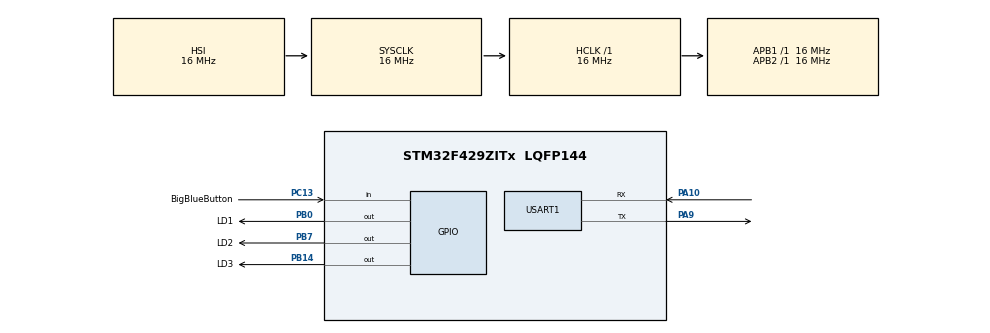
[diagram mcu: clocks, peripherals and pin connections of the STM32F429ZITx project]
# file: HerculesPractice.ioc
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Mcu.Family=STM32F4
Mcu.Name=STM32F429ZITx
Mcu.Package=LQFP144
NVIC.PriorityGroup=NVIC_PRIORITYGROUP_4
NVIC.USART1_IRQn=true\:0\:0\:false\:false\:true\:true\:true
PA10.Mode=Asynchronous
PA10.Signal=USART1_RX
PA13.Mode=Serial_Wire
PA13.Signal=SYS_JTMS-SWDIO
PA14.Mode=Serial_Wire
PA14.Signal=SYS_JTCK-SWCLK
PA9.Mode=Asynchronous
PA9.Signal=USART1_TX
PB0.GPIO_Label=LD1
PB0.Signal=GPIO_Output
PB14.GPIO_Label=LD3
PB14.Signal=GPIO_Output
PB7.GPIO_Label=LD2
PB7.Signal=GPIO_Output
PC13.GPIO_Label=BigBlueButton
PC13.Signal=GPIO_Input
ProjectManager.HeapSize=0x200
ProjectManager.StackSize=0x400
ProjectManager.TargetToolchain=MDK-ARM V5
RCC.AHBFreq_Value=16000000
RCC.APB1Freq_Value=16000000
RCC.APB2Freq_Value=16000000
RCC.CortexFreq_Value=16000000
RCC.HSE_VALUE=25000000
RCC.HSI_VALUE=16000000
RCC.LSE_VALUE=32768
RCC.SYSCLKFreq_VALUE=16000000
RCC.VCOOutputFreq_Value=192000000
USART1.VirtualMode=VM_ASYNC
board=custom

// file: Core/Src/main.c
/* USER CODE BEGIN Header */
/**
  ******************************************************************************
  * @file           : main.c
  * @brief          : Main program body
  ******************************************************************************
  * @attention
  *
  * <h2><center>&copy; Copyright (c) 2021 STMicroelectronics.
  * All rights reserved.</center></h2>
  *
  * This software component is licensed by ST under BSD 3-Clause license,
  * the "License"; You may not use this file except in compliance with the
  * License. You may obtain a copy of the License at:
  *                        opensource.org/licenses/BSD-3-Clause
  *
  ******************************************************************************
  */
/* USER CODE END Header */
#include "main.h"

/* USER CODE BEGIN Includes */
#include "string.h"
#include "stdio.h"
/* USER CODE END Includes */

UART_HandleTypeDef huart1;

/* USER CODE BEGIN PV */
uint8_t pc_data[3];
uint8_t command_from_pc = 0;
/* USER CODE END PV */

void SystemClock_Config(void);
static void MX_GPIO_Init(void);
static void MX_USART1_UART_Init(void);

/* USER CODE BEGIN 0 */
void HAL_UART_RxCpltCallback(UART_HandleTypeDef *huart)
{
	if((pc_data[0] == 0x7E) && (pc_data[2] == 0xAB))
		command_from_pc = pc_data[1];
	HAL_UART_Receive_IT(&huart1, pc_data, 3);
}
/* USER CODE END 0 */

int main(void)
{

  /* MCU Configuration--------------------------------------------------------*/

  /* Reset of all peripherals, Initializes the Flash interface and the Systick. */
  HAL_Init();

  /* Configure the system clock */
  SystemClock_Config();

  /* Initialize all configured peripherals */
  MX_GPIO_Init();
  MX_USART1_UART_Init();
  /* USER CODE BEGIN 2 */
	char buf[50];
	strcpy(buf, "Ready to work!\n");
	HAL_UART_Receive_IT(&huart1, pc_data, 3);

	uint16_t time = 0;
	uint8_t is_on = 0;
	uint8_t push_counter = 0;
	uint8_t button_val = 0;
	uint8_t num = 0;

	uint16_t LightOn[100];
	uint16_t LightOff[100];

	HAL_UART_Transmit(&huart1, (uint8_t*)buf, strlen(buf), 100);

  /* USER CODE END 2 */

  /* Infinite loop */
  /* USER CODE BEGIN WHILE */
  while (1)
  {
		if(command_from_pc == 0xA0)
		{
			num = 0;
			strcpy(buf, "Select mode.\n");
			HAL_UART_Transmit(&huart1, (uint8_t*)buf, strlen(buf), 100);
			push_counter = 0;
		}

		if(command_from_pc == 0xA1)
		{
			push_counter += 1;
			time = 0;
		}

		command_from_pc = 0;

    /* USER CODE END WHILE */

    /* USER CODE BEGIN 3 */

		button_val = HAL_GPIO_ReadPin(BigBlueButton_GPIO_Port, BigBlueButton_Pin);

		if(num == 0)
		{

			if(button_val == 1)
			{
				if(!is_on)
				{
					push_counter += 1;
					is_on = 1;
				}
				time = 0;
			}
			else
			{
				is_on = 0;
				time += 1;
			}
		}

		if(time == 500 && num == 0)
		{
			if(push_counter == 1)
			{
				num = 1;
				HAL_GPIO_WritePin(LD1_GPIO_Port, LD1_Pin, GPIO_PIN_SET);
				HAL_Delay(10);
				HAL_GPIO_WritePin(LD1_GPIO_Port, LD1_Pin, GPIO_PIN_RESET);

				strcpy(buf, "Button mode is selected.\n");
				HAL_UART_Transmit(&huart1, (uint8_t*)buf, strlen(buf), 100);
			}
			if(push_counter == 2)
			{
				num = 2;
				HAL_GPIO_WritePin(LD2_GPIO_Port, LD2_Pin, GPIO_PIN_SET);
				HAL_Delay(10);
				HAL_GPIO_WritePin(LD2_GPIO_Port, LD2_Pin, GPIO_PIN_RESET);

				strcpy(buf, "PushCounter mode is selected.\n");
				HAL_UART_Transmit(&huart1, (uint8_t*)buf, strlen(buf), 100);
			}
			if(push_counter > 2)
			{
				num = 3;
				HAL_GPIO_WritePin(LD3_GPIO_Port, LD3_Pin, GPIO_PIN_SET);
				HAL_Delay(10);
				HAL_GPIO_WritePin(LD3_GPIO_Port, LD3_Pin, GPIO_PIN_RESET);

				strcpy(buf, "SequenceRepeater mode is selected.\n");
				HAL_UART_Transmit(&huart1, (uint8_t*)buf, strlen(buf), 100);
			}
			time = 0;
			push_counter = 0;
			is_on = 0;
		}

		if(num == 1)
		{

			if(button_val == 1)
			{
				HAL_GPIO_WritePin(LD1_GPIO_Port, LD1_Pin, GPIO_PIN_SET);
				if(is_on == 0)
				{
					strcpy(buf, "On.");
					HAL_UART_Transmit(&huart1, (uint8_t*)buf, strlen(buf), 100);
				}
				is_on = 1;
			}
			if(button_val == 0)
			{
				HAL_GPIO_WritePin(LD1_GPIO_Port, LD1_Pin, GPIO_PIN_RESET);
				if(is_on == 1)
				{
					strcpy(buf, " Off.\n");
					HAL_UART_Transmit(&huart1, (uint8_t*)buf, strlen(buf), 100);
				}
				is_on = 0;
			}
		}

		if(num == 2)
		{
			if(button_val == 1 || command_from_pc == 0xA1)
			{

				if(!is_on && button_val == 1)
				{
					push_counter += 1;
					is_on = 1;
				}

				if(command_from_pc == 0xA1)
					push_counter += 1;

				time = 0;
			}
			else
			{
				is_on = 0;
				time += 1;
			}

			if(time == 1000 && push_counter != 0)
			{
				sprintf(buf, "There were %d pushes.\n", push_counter);
				HAL_UART_Transmit(&huart1, (uint8_t*)buf, strlen(buf), 100);

				for(int i = 0; i < push_counter; i = i + 1)
				{
					HAL_GPIO_WritePin(LD2_GPIO_Port, LD2_Pin, GPIO_PIN_SET);
					HAL_Delay(100);
					HAL_GPIO_WritePin(LD2_GPIO_Port, LD2_Pin, GPIO_PIN_RESET);
					HAL_Delay(150);
				}
				push_counter = 0;
				time = 0;
			}
		}

		if(num == 3)
		{
			if(button_val == 1)
			{
				if(!is_on)
				{
					push_counter+= 1;
					is_on = 1;
				}
				LightOn[push_counter - 1] += 2;
				time = 0;
			}
			else
			{
				is_on = 0;
				if(push_counter > 0)
				LightOff[push_counter - 1] += 2;
				time += 1;
			}

			if(time == 1000)
			{

				for(int i = 0; i < push_counter; i = i + 1)
				{
					HAL_GPIO_WritePin(LD3_GPIO_Port, LD3_Pin, GPIO_PIN_SET);
					HAL_Delay(LightOn[i]);
					HAL_GPIO_WritePin(LD3_GPIO_Port, LD3_Pin, GPIO_PIN_RESET);
					if(i != push_counter - 1)
					HAL_Delay(LightOff[i]);

					LightOn[i] = 0;
					LightOff[i] = 0;
				}
				push_counter = 0;
				time = 0;
				}
			}
		HAL_Delay(1);

  }
  /* USER CODE END 3 */
}

void SystemClock_Config(void)
{
  RCC_OscInitTypeDef RCC_OscInitStruct = {0};
  RCC_ClkInitTypeDef RCC_ClkInitStruct = {0};

  /** Configure the main internal regulator output voltage
  */
  __HAL_RCC_PWR_CLK_ENABLE();
  __HAL_PWR_VOLTAGESCALING_CONFIG(PWR_REGULATOR_VOLTAGE_SCALE3);
  /** Initializes the RCC Oscillators according to the specified parameters
  * in the RCC_OscInitTypeDef structure.
  */
  RCC_OscInitStruct.OscillatorType = RCC_OSCILLATORTYPE_HSI;
  RCC_OscInitStruct.HSIState = RCC_HSI_ON;
  RCC_OscInitStruct.HSICalibrationValue = RCC_HSICALIBRATION_DEFAULT;
  RCC_OscInitStruct.PLL.PLLState = RCC_PLL_NONE;
  if (HAL_RCC_OscConfig(&RCC_OscInitStruct) != HAL_OK)
  {
    Error_Handler();
  }
  /** Initializes the CPU, AHB and APB buses clocks
  */
  RCC_ClkInitStruct.ClockType = RCC_CLOCKTYPE_HCLK|RCC_CLOCKTYPE_SYSCLK
                              |RCC_CLOCKTYPE_PCLK1|RCC_CLOCKTYPE_PCLK2;
  RCC_ClkInitStruct.SYSCLKSource = RCC_SYSCLKSOURCE_HSI;
  RCC_ClkInitStruct.AHBCLKDivider = RCC_SYSCLK_DIV1;
  RCC_ClkInitStruct.APB1CLKDivider = RCC_HCLK_DIV1;
  RCC_ClkInitStruct.APB2CLKDivider = RCC_HCLK_DIV1;

  if (HAL_RCC_ClockConfig(&RCC_ClkInitStruct, FLASH_LATENCY_0) != HAL_OK)
  {
    Error_Handler();
  }
}

static void MX_USART1_UART_Init(void)
{

  huart1.Instance = USART1;
  huart1.Init.BaudRate = 115200;
  huart1.Init.WordLength = UART_WORDLENGTH_8B;
  huart1.Init.StopBits = UART_STOPBITS_1;
  huart1.Init.Parity = UART_PARITY_NONE;
  huart1.Init.Mode = UART_MODE_TX_RX;
  huart1.Init.HwFlowCtl = UART_HWCONTROL_NONE;
  huart1.Init.OverSampling = UART_OVERSAMPLING_16;
  if (HAL_UART_Init(&huart1) != HAL_OK)
  {
    Error_Handler();
  }

}

static void MX_GPIO_Init(void)
{
  GPIO_InitTypeDef GPIO_InitStruct = {0};

  /* GPIO Ports Clock Enable */
  __HAL_RCC_GPIOC_CLK_ENABLE();
  __HAL_RCC_GPIOB_CLK_ENABLE();
  __HAL_RCC_GPIOA_CLK_ENABLE();

  /*Configure GPIO pin Output Level */
  HAL_GPIO_WritePin(GPIOB, LD1_Pin|LD3_Pin|LD2_Pin, GPIO_PIN_RESET);

  /*Configure GPIO pin : BigBlueButton_Pin */
  GPIO_InitStruct.Pin = BigBlueButton_Pin;
  GPIO_InitStruct.Mode = GPIO_MODE_INPUT;
  GPIO_InitStruct.Pull = GPIO_NOPULL;
  HAL_GPIO_Init(BigBlueButton_GPIO_Port, &GPIO_InitStruct);

  /*Configure GPIO pins : LD1_Pin LD3_Pin LD2_Pin */
  GPIO_InitStruct.Pin = LD1_Pin|LD3_Pin|LD2_Pin;
  GPIO_InitStruct.Mode = GPIO_MODE_OUTPUT_PP;
  GPIO_InitStruct.Pull = GPIO_NOPULL;
  GPIO_InitStruct.Speed = GPIO_SPEED_FREQ_LOW;
  HAL_GPIO_Init(GPIOB, &GPIO_InitStruct);

}

void Error_Handler(void)
{
  __disable_irq();
  while (1)
  {
  }
}

/************************ (C) COPYRIGHT STMicroelectronics *****END OF FILE****/
